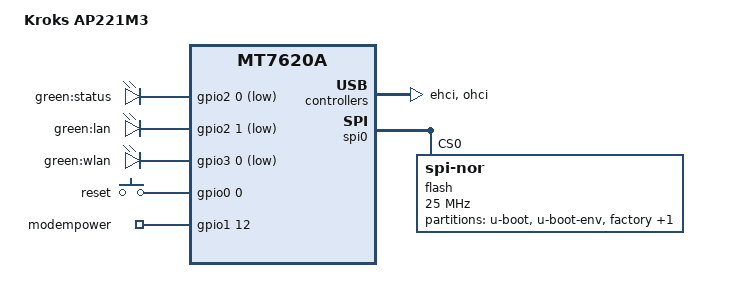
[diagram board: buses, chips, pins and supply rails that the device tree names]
#include "mt7620a.dtsi"

#include <dt-bindings/gpio/gpio.h>
#include <dt-bindings/input/input.h>

/ {
	compatible = "kroks,ap221m3", "ralink,mt7620a-soc";
	model = "Kroks AP221M3";

	aliases {
		led-boot = &led_status;
		led-failsafe = &led_status;
		led-running = &led_status;
		led-upgrade = &led_status;
	};

	leds {
		compatible = "gpio-leds";

		led_status: status {
			label = "green:status";
			gpios = <&gpio2 0 GPIO_ACTIVE_LOW>;
		};

		lan {
			label = "green:lan";
			gpios = <&gpio2 1 GPIO_ACTIVE_LOW>;
		};

		wifi {
			label = "green:wlan";
			gpios = <&gpio3 0 GPIO_ACTIVE_LOW>;
		};
	};

	keys {
		compatible = "gpio-keys";

		reset {
			label = "reset";
			gpios = <&gpio0 0 GPIO_ACTIVE_HIGH>;
			linux,code = <KEY_RESTART>;
		};
	};

	gpio_export {
		compatible = "gpio-export";
		#size-cells = <0>;

		modempower {
			gpio-export,name = "modempower";
			gpio-export,output = <1>;
			gpios = <&gpio1 12 GPIO_ACTIVE_HIGH>;
		};
	};
};

&state_default {

	gpio_led {
		groups = "ephy", "wled";
		function = "gpio";
	};

	gpio {
		groups = "pcie";
		function = "gpio";
	};

};

&gpio1 {
	status = "okay";
};

&gpio2 {
	status = "okay";
};

&gpio3 {
	status = "okay";
};

&ehci {
	status = "okay";
};

&ohci {
	status = "okay";
};

&gsw {
	mediatek,port4 = "ephy";
};

&ethernet {
	mtd-mac-address = <&factory 0x4>;
	mediatek,portmap = "wllll";
};

&spi0 {
	status = "okay";

	flash@0 {
		compatible = "jedec,spi-nor";
		reg = <0>;
		spi-max-frequency = <25000000>;
		m25p,fast-read;

		partitions: partitions {
			compatible = "fixed-partitions";
			#address-cells = <1>;
			#size-cells = <1>;

			partition@0 {
				label = "u-boot";
				reg = <0x0 0x30000>;
			};

			partition@30000 {
				label = "u-boot-env";
				reg = <0x30000 0x10000>;
			};

			factory: partition@40000 {
				label = "factory";
				reg = <0x40000 0x10000>;
			};

			partition@50000 {
				compatible = "denx,uimage";
				label = "firmware";
				reg = <0x50000 0xfb0000>;
			};

		};
	};
};

